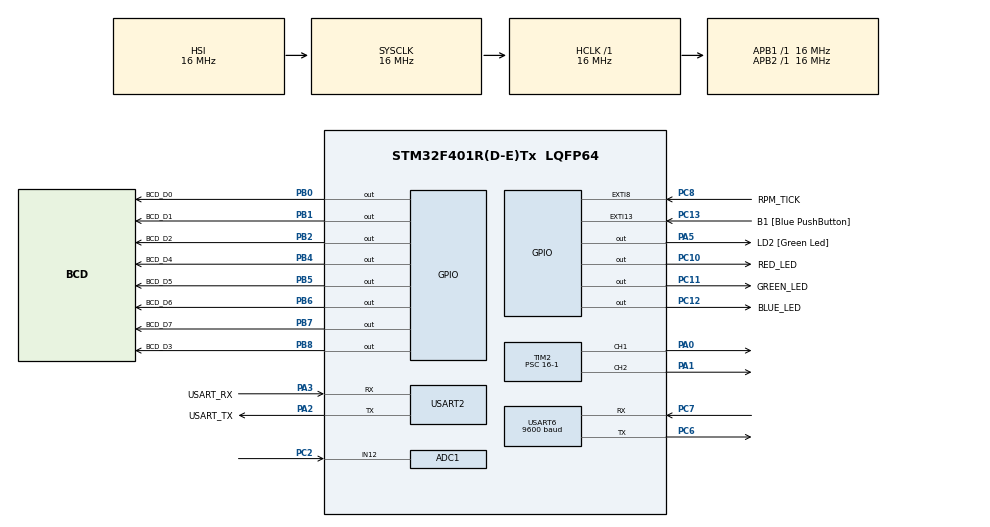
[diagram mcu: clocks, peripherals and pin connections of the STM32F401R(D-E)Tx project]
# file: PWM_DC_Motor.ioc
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ADC1.Channel-0\#ChannelRegularConversion=ADC_CHANNEL_12
ADC1.NbrOfConversionFlag=1
ADC1.Rank-0\#ChannelRegularConversion=1
ADC1.Resolution=ADC_RESOLUTION_8B
ADC1.SamplingTime-0\#ChannelRegularConversion=ADC_SAMPLETIME_15CYCLES
ADC1.ScanConvMode=ENABLE
ADC1.master=1
Mcu.Family=STM32F4
Mcu.Name=STM32F401R(D-E)Tx
Mcu.Package=LQFP64
NVIC.EXTI15_10_IRQn=true\:0\:0\:false\:false\:true\:true\:true\:true
NVIC.EXTI9_5_IRQn=true\:0\:0\:false\:false\:true\:true\:true\:true
NVIC.PriorityGroup=NVIC_PRIORITYGROUP_0
NVIC.TIM4_IRQn=true\:0\:0\:false\:false\:true\:true\:true\:true
NVIC.USART6_IRQn=true\:0\:0\:false\:false\:true\:true\:true\:true
PA0-WKUP.Signal=S_TIM2_CH1_ETR
PA1.Signal=S_TIM2_CH2
PA13.GPIO_Label=TMS
PA13.Mode=Serial_Wire
PA13.Signal=SYS_JTMS-SWDIO
PA14.GPIO_Label=TCK
PA14.Mode=Serial_Wire
PA14.Signal=SYS_JTCK-SWCLK
PA2.GPIO_Label=USART_TX
PA2.GPIO_Mode=GPIO_MODE_AF_PP
PA2.GPIO_PuPd=GPIO_NOPULL
PA2.GPIO_Speed=GPIO_SPEED_FREQ_LOW
PA2.Mode=Asynchronous
PA2.Signal=USART2_TX
PA3.GPIO_Label=USART_RX
PA3.GPIO_Mode=GPIO_MODE_AF_PP
PA3.GPIO_PuPd=GPIO_NOPULL
PA3.GPIO_Speed=GPIO_SPEED_FREQ_LOW
PA3.Mode=Asynchronous
PA3.Signal=USART2_RX
PA5.GPIO_Label=LD2 [Green Led]
PA5.GPIO_Mode=GPIO_MODE_OUTPUT_PP
PA5.GPIO_PuPd=GPIO_NOPULL
PA5.GPIO_Speed=GPIO_SPEED_FREQ_LOW
PA5.Signal=GPIO_Output
PB0.GPIO_Label=BCD_D0
PB0.Signal=GPIO_Output
PB1.GPIO_Label=BCD_D1
PB1.Signal=GPIO_Output
PB2.GPIO_Label=BCD_D2
PB2.Signal=GPIO_Output
PB3.GPIO_Label=SWO
PB3.Signal=SYS_JTDO-SWO
PB4.GPIO_Label=BCD_D4
PB4.Signal=GPIO_Output
PB5.GPIO_Label=BCD_D5
PB5.Signal=GPIO_Output
PB6.GPIO_Label=BCD_D6
PB6.Signal=GPIO_Output
PB7.GPIO_Label=BCD_D7
PB7.Signal=GPIO_Output
PB8.GPIO_Label=BCD_D3
PB8.Signal=GPIO_Output
PC10.GPIO_Label=RED_LED
PC10.Signal=GPIO_Output
PC11.GPIO_Label=GREEN_LED
PC11.Signal=GPIO_Output
PC12.GPIO_Label=BLUE_LED
PC12.Signal=GPIO_Output
PC13-ANTI_TAMP.GPIO_Label=B1 [Blue PushButton]
PC13-ANTI_TAMP.GPIO_ModeDefaultEXTI=GPIO_MODE_IT_FALLING
PC13-ANTI_TAMP.GPIO_PuPd=GPIO_NOPULL
PC13-ANTI_TAMP.Signal=GPXTI13
PC14-OSC32_IN.Mode=LSE-External-Oscillator
PC14-OSC32_IN.Signal=RCC_OSC32_IN
PC15-OSC32_OUT.Mode=LSE-External-Oscillator
PC15-OSC32_OUT.Signal=RCC_OSC32_OUT
PC2.Signal=ADCx_IN12
PC6.Mode=Asynchronous
PC6.Signal=USART6_TX
PC7.Mode=Asynchronous
PC7.Signal=USART6_RX
PC8.GPIO_Label=RPM_TICK
PC8.Signal=GPXTI8
PH0\ -\ OSC_IN.Mode=HSE-External-Clock-Source
PH0\ -\ OSC_IN.Signal=RCC_OSC_IN
PH1\ -\ OSC_OUT.Mode=HSE-External-Clock-Source
PH1\ -\ OSC_OUT.Signal=RCC_OSC_OUT
ProjectManager.HeapSize=0x200
ProjectManager.StackSize=0x400
ProjectManager.TargetToolchain=STM32CubeIDE
RCC.48MHZClocksFreq_Value=48000000
RCC.AHBFreq_Value=16000000
RCC.APB1Freq_Value=16000000
RCC.APB1TimFreq_Value=16000000
RCC.APB2Freq_Value=16000000
RCC.APB2TimFreq_Value=16000000
RCC.CortexFreq_Value=16000000
RCC.HCLKFreq_Value=16000000
RCC.HSE_VALUE=8000000
RCC.HSI_VALUE=16000000
RCC.PLLN=336
RCC.PLLP=RCC_PLLP_DIV4
RCC.PLLQ=7
RCC.SYSCLKFreq_VALUE=16000000
RCC.VCOOutputFreq_Value=336000000
SH.ADCx_IN12.0=ADC1_IN12,IN12
SH.S_TIM2_CH1_ETR.0=TIM2_CH1,PWM Generation1 CH1
SH.S_TIM2_CH2.0=TIM2_CH2,PWM Generation2 CH2
TIM2.AutoReloadPreload=TIM_AUTORELOAD_PRELOAD_ENABLE
TIM2.Channel-PWM\ Generation1\ CH1=TIM_CHANNEL_1
TIM2.Channel-PWM\ Generation2\ CH2=TIM_CHANNEL_2
TIM2.Period=2000-1
TIM2.Prescaler=16-1
TIM2.Pulse-PWM\ Generation1\ CH1=1200-1
TIM3.AutoReloadPreload=TIM_AUTORELOAD_PRELOAD_ENABLE
TIM3.Period=2000-1
TIM3.Prescaler=16-1
TIM4.AutoReloadPreload=TIM_AUTORELOAD_PRELOAD_ENABLE
TIM4.Period=1000-1
TIM4.Prescaler=16000-1
USART2.VirtualMode=VM_ASYNC
USART6.BaudRate=9600
USART6.VirtualMode=VM_ASYNC
VP_TIM2_VS_ClockSourceINT.Mode=Internal
VP_TIM3_VS_ClockSourceINT.Mode=Internal
VP_TIM4_VS_ClockSourceINT.Mode=Internal
board=NUCLEO-F401RE

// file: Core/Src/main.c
/* USER CODE BEGIN Header */
/**
  ******************************************************************************
  * @file           : main.c
  * @brief          : Main program body
  ******************************************************************************
  * @attention
  *
  * Copyright (c) 2024 STMicroelectronics.
  * All rights reserved.
  *
  * This software is licensed under terms that can be found in the LICENSE file
  * in the root directory of this software component.
  * If no LICENSE file comes with this software, it is provided AS-IS.
  *
  ******************************************************************************
  */
/* USER CODE END Header */
#include "main.h"

/* USER CODE BEGIN Includes */
#include <string.h>
#include <stdio.h>
/* USER CODE END Includes */

ADC_HandleTypeDef hadc1;

TIM_HandleTypeDef htim2;
TIM_HandleTypeDef htim3;
TIM_HandleTypeDef htim4;

UART_HandleTypeDef huart2;
UART_HandleTypeDef huart6;

void SystemClock_Config(void);
static void MX_GPIO_Init(void);
static void MX_USART2_UART_Init(void);
static void MX_TIM3_Init(void);
static void MX_TIM2_Init(void);
static void MX_USART6_UART_Init(void);
static void MX_ADC1_Init(void);
static void MX_TIM4_Init(void);
/* USER CODE BEGIN PFP */
//Global Variables
uint8_t txd_msg_buffer[64] = {0};
uint8_t wall_clock_hr_update_flag = 0;
volatile uint8_t clock_hours = 0;
volatile uint8_t clock_mins = 0;
volatile uint8_t clock_secs = 0;
uint8_t rpm_tick_count = 0;

//Functions
static void ADC_Select_CH(int CH);
void ADC_Select_CH(int CH)
{
ADC_ChannelConfTypeDef sConfig = {0};
switch(CH)
{
case 0:
sConfig.Channel = ADC_CHANNEL_0;
sConfig.Rank = 1;
if (HAL_ADC_ConfigChannel(&hadc1, &sConfig) != HAL_OK)
{
Error_Handler();
}
break;
case 1:
sConfig.Channel = ADC_CHANNEL_1;
sConfig.Rank = 1;
if (HAL_ADC_ConfigChannel(&hadc1, &sConfig) != HAL_OK)
{
Error_Handler();
}
break;
case 2:
sConfig.Channel = ADC_CHANNEL_2;
sConfig.Rank = 1;
if (HAL_ADC_ConfigChannel(&hadc1, &sConfig) != HAL_OK)
{
Error_Handler();
}
break;
case 3:
sConfig.Channel = ADC_CHANNEL_3;
sConfig.Rank = 1;
if (HAL_ADC_ConfigChannel(&hadc1, &sConfig) != HAL_OK)
{
Error_Handler();
}
break;
case 4:
sConfig.Channel = ADC_CHANNEL_4;
sConfig.Rank = 1;
if (HAL_ADC_ConfigChannel(&hadc1, &sConfig) != HAL_OK)
{
Error_Handler();
}
break;
case 5:
sConfig.Channel = ADC_CHANNEL_5;
sConfig.Rank = 1;
if (HAL_ADC_ConfigChannel(&hadc1, &sConfig) != HAL_OK)
{
Error_Handler();
}
break;
case 6:
sConfig.Channel = ADC_CHANNEL_6;
sConfig.Rank = 1;
if (HAL_ADC_ConfigChannel(&hadc1, &sConfig) != HAL_OK)
{
Error_Handler();
}
break;
case 7:
sConfig.Channel = ADC_CHANNEL_7;
sConfig.Rank = 1;
if (HAL_ADC_ConfigChannel(&hadc1, &sConfig) != HAL_OK)
{
Error_Handler();
}
break;
case 8:
sConfig.Channel = ADC_CHANNEL_8;
sConfig.Rank = 1;
if (HAL_ADC_ConfigChannel(&hadc1, &sConfig) != HAL_OK)
{
Error_Handler();
}
break;
case 9:
sConfig.Channel = ADC_CHANNEL_9;
sConfig.Rank = 1;
if (HAL_ADC_ConfigChannel(&hadc1, &sConfig) != HAL_OK)
{
Error_Handler();
}
break;
case 10:
sConfig.Channel = ADC_CHANNEL_10;
sConfig.Rank = 1;
if (HAL_ADC_ConfigChannel(&hadc1, &sConfig) != HAL_OK)
{
Error_Handler();
}
break;
case 11:
sConfig.Channel = ADC_CHANNEL_11;
sConfig.Rank = 1;
if (HAL_ADC_ConfigChannel(&hadc1, &sConfig) != HAL_OK)
{
Error_Handler();
}
break;
case 12:
sConfig.Channel = ADC_CHANNEL_12;
sConfig.Rank = 1;
if (HAL_ADC_ConfigChannel(&hadc1, &sConfig) != HAL_OK)
{
Error_Handler();
}
break;
case 13:
sConfig.Channel = ADC_CHANNEL_13;
sConfig.Rank = 1;
if (HAL_ADC_ConfigChannel(&hadc1, &sConfig) != HAL_OK)
{
Error_Handler();
}
break;
case 14:
sConfig.Channel = ADC_CHANNEL_14;
sConfig.Rank = 1;
if (HAL_ADC_ConfigChannel(&hadc1, &sConfig) != HAL_OK)
{
Error_Handler();
}
break;
case 15:
sConfig.Channel = ADC_CHANNEL_15;
sConfig.Rank = 1;
if (HAL_ADC_ConfigChannel(&hadc1, &sConfig) != HAL_OK)
{
Error_Handler();
}
break;
}
}

void DIGITS_Display(uint8_t NUM)
		{
			 uint8_t DIGIT_A = NUM/10;
			 uint8_t DIGIT_B = NUM%10;
			 uint8_t DIGITA_VAL = 0x0F & DIGIT_A; //mask off higher4 bits
			 int Abit0 = (DIGITA_VAL ) & 1;  	// extract Abit0 of the 4-bit value
			 int Abit1 = (DIGITA_VAL >> 1) & 1;  // extract Abit1 of the 4-bit value
			 int Abit2 = (DIGITA_VAL >> 2) & 1;  // extract Abit2 of the 4-bit value
			 int Abit3 = (DIGITA_VAL >> 3) & 1;  // extract Abit3 of the 4-bit value

			 uint8_t DIGITB_VAL = 0x0F & DIGIT_B; //mask off higher4 bits
			 int Bbit0 = (DIGITB_VAL ) & 1;  	// extract Bbit0 of the 4-bit value
			 int Bbit1 = (DIGITB_VAL >> 1) & 1;  // extract Bbit1 of the 4-bit value
			 int Bbit2 = (DIGITB_VAL >> 2) & 1;  // extract Bbit2 of the 4-bit value
			 int Bbit3 = (DIGITB_VAL >> 3) & 1;  // extract Bbit3 of the 4-bit value

			 if (Abit0 == (0))
			 {
				 HAL_GPIO_WritePin(GPIOB, BCD_D0_Pin, GPIO_PIN_RESET);
			 }
			 else
			 {
				 HAL_GPIO_WritePin(GPIOB, BCD_D0_Pin, GPIO_PIN_SET);

			 }
			 if (Abit1 == (0))
			 {
				 HAL_GPIO_WritePin(GPIOB, BCD_D1_Pin, GPIO_PIN_RESET);
			 }
			 else
			 {
				 HAL_GPIO_WritePin(GPIOB, BCD_D1_Pin, GPIO_PIN_SET);

			 }
			 if (Abit2 == (0))
			 {
				 HAL_GPIO_WritePin(GPIOB, BCD_D2_Pin, GPIO_PIN_RESET);
			 }
			 else
			 {
				 HAL_GPIO_WritePin(GPIOB, BCD_D2_Pin, GPIO_PIN_SET);

			 }
			 if (Abit3 == (0))
			 {
				 HAL_GPIO_WritePin(GPIOB, BCD_D3_Pin, GPIO_PIN_RESET);
			 }
			 else
			 {
				 HAL_GPIO_WritePin(GPIOB, BCD_D3_Pin, GPIO_PIN_SET);

			 }

			 if (Bbit0 == (0))
			 {
				 HAL_GPIO_WritePin(GPIOB, BCD_D4_Pin, GPIO_PIN_RESET);
			 }
			 else
			 {
				 HAL_GPIO_WritePin(GPIOB, BCD_D4_Pin, GPIO_PIN_SET);

			 }
			 if (Bbit1 == (0))
			 {
				 HAL_GPIO_WritePin(GPIOB, BCD_D5_Pin, GPIO_PIN_RESET);
			 }
			 else
			 {
				 HAL_GPIO_WritePin(GPIOB, BCD_D5_Pin, GPIO_PIN_SET);

			 }
			 if (Bbit2 == (0))
			 {
				 HAL_GPIO_WritePin(GPIOB, BCD_D6_Pin, GPIO_PIN_RESET);
			 }
			 else
			 {
				 HAL_GPIO_WritePin(GPIOB, BCD_D6_Pin, GPIO_PIN_SET);

			 }
			 if (Bbit3 == (0))
			 {
				 HAL_GPIO_WritePin(GPIOB, BCD_D7_Pin, GPIO_PIN_RESET);
			 }
			 else
			 {
				 HAL_GPIO_WritePin(GPIOB, BCD_D7_Pin, GPIO_PIN_SET);

			 }
		}
/* USER CODE END PFP */

int main(void)
{

  /* USER CODE BEGIN 1 */

	//Variables
	uint8_t txd_msg_buffer[64] = {0};
	  clock_hours = 0;
	  clock_mins = 0;
	  clock_secs = 0;

  /* USER CODE END 1 */

  /* MCU Configuration--------------------------------------------------------*/

  /* Reset of all peripherals, Initializes the Flash interface and the Systick. */
  HAL_Init();

  /* Configure the system clock */
  SystemClock_Config();

  /* Initialize all configured peripherals */
  MX_GPIO_Init();
  MX_USART2_UART_Init();
  MX_TIM3_Init();
  MX_TIM2_Init();
  MX_USART6_UART_Init();
  MX_ADC1_Init();
  MX_TIM4_Init();
  /* USER CODE BEGIN 2 */
//HAL_TIM_Base_Init(&htim2);

HAL_TIM_PWM_Start(&htim2,TIM_CHANNEL_1);
HAL_TIM_PWM_Start(&htim2,TIM_CHANNEL_2);

TIM2->PSC = 0;
TIM2->ARR = 60000;
TIM2->CCR1 =50000;
TIM2->CCR2 =0;

HAL_TIM_Base_Start_IT(&htim4);

  /* USER CODE END 2 */

  /* Infinite loop */
  /* USER CODE BEGIN WHILE */
  while (1)
  {
	  //RPM/Motor Control
//	  sprintf((char*)txd_msg_buffer,"RPM TICK COUNT: %d \r\n", rpm_tick_count);
//	  HAL_UART_Transmit(&huart6, txd_msg_buffer, strlen((char*)txd_msg_buffer),1000);

	  //ADC
//	  ADC_Select_CH(12);
//	  HAL_ADC_Start(&hadc1);
//	  HAL_ADC_PollForConversion(&hadc1,1000);
//	  uint8_t ADC_CH12 = HAL_ADC_GetValue(&hadc1);
//	  HAL_ADC_Stop(&hadc1);
//
//	  sprintf((char*)txd_msg_buffer,"DIGITIZED ANALOG VALUE FOR CH12: %d \r \n", ADC_CH12);
//	  HAL_UART_Transmit(&huart6,txd_msg_buffer,strlen((char*)txd_msg_buffer),1000);
//	  HAL_Delay(1000);

	  //RGB
	  HAL_GPIO_WritePin(GPIOC, RED_LED_Pin,GPIO_PIN_SET);
	  HAL_GPIO_WritePin(GPIOC, GREEN_LED_Pin,GPIO_PIN_RESET);
	  HAL_GPIO_WritePin(GPIOC, BLUE_LED_Pin,GPIO_PIN_RESET);

	  //BCD Display
	  DIGITS_Display(23);

	  //Wall Clock
	  sprintf((char*)txd_msg_buffer,"Minutes: %d \r\n", clock_mins);
	  HAL_UART_Transmit(&huart6, txd_msg_buffer, strlen((char*)txd_msg_buffer),1000);
	  sprintf((char*)txd_msg_buffer,"Secs: %d \r\n", clock_secs);
	  HAL_UART_Transmit(&huart6, txd_msg_buffer, strlen((char*)txd_msg_buffer),1000);
	  HAL_Delay(1000);

    /* USER CODE END WHILE */

  }
}

void SystemClock_Config(void)
{
  RCC_OscInitTypeDef RCC_OscInitStruct = {0};
  RCC_ClkInitTypeDef RCC_ClkInitStruct = {0};

  /** Configure the main internal regulator output voltage
  */
  __HAL_RCC_PWR_CLK_ENABLE();
  __HAL_PWR_VOLTAGESCALING_CONFIG(PWR_REGULATOR_VOLTAGE_SCALE2);

  /** Initializes the RCC Oscillators according to the specified parameters
  * in the RCC_OscInitTypeDef structure.
  */
  RCC_OscInitStruct.OscillatorType = RCC_OSCILLATORTYPE_HSI;
  RCC_OscInitStruct.HSIState = RCC_HSI_ON;
  RCC_OscInitStruct.HSICalibrationValue = RCC_HSICALIBRATION_DEFAULT;
  RCC_OscInitStruct.PLL.PLLState = RCC_PLL_NONE;
  if (HAL_RCC_OscConfig(&RCC_OscInitStruct) != HAL_OK)
  {
    Error_Handler();
  }

  /** Initializes the CPU, AHB and APB buses clocks
  */
  RCC_ClkInitStruct.ClockType = RCC_CLOCKTYPE_HCLK|RCC_CLOCKTYPE_SYSCLK
                              |RCC_CLOCKTYPE_PCLK1|RCC_CLOCKTYPE_PCLK2;
  RCC_ClkInitStruct.SYSCLKSource = RCC_SYSCLKSOURCE_HSI;
  RCC_ClkInitStruct.AHBCLKDivider = RCC_SYSCLK_DIV1;
  RCC_ClkInitStruct.APB1CLKDivider = RCC_HCLK_DIV1;
  RCC_ClkInitStruct.APB2CLKDivider = RCC_HCLK_DIV1;

  if (HAL_RCC_ClockConfig(&RCC_ClkInitStruct, FLASH_LATENCY_0) != HAL_OK)
  {
    Error_Handler();
  }
}

static void MX_ADC1_Init(void)
{

  ADC_ChannelConfTypeDef sConfig = {0};

  /** Configure the global features of the ADC (Clock, Resolution, Data Alignment and number of conversion)
  */
  hadc1.Instance = ADC1;
  hadc1.Init.ClockPrescaler = ADC_CLOCK_SYNC_PCLK_DIV2;
  hadc1.Init.Resolution = ADC_RESOLUTION_8B;
  hadc1.Init.ScanConvMode = ENABLE;
  hadc1.Init.ContinuousConvMode = DISABLE;
  hadc1.Init.DiscontinuousConvMode = DISABLE;
  hadc1.Init.ExternalTrigConvEdge = ADC_EXTERNALTRIGCONVEDGE_NONE;
  hadc1.Init.ExternalTrigConv = ADC_SOFTWARE_START;
  hadc1.Init.DataAlign = ADC_DATAALIGN_RIGHT;
  hadc1.Init.NbrOfConversion = 1;
  hadc1.Init.DMAContinuousRequests = DISABLE;
  hadc1.Init.EOCSelection = ADC_EOC_SINGLE_CONV;
  if (HAL_ADC_Init(&hadc1) != HAL_OK)
  {
    Error_Handler();
  }

  /** Configure for the selected ADC regular channel its corresponding rank in the sequencer and its sample time.
  */
  sConfig.Channel = ADC_CHANNEL_12;
  sConfig.Rank = 1;
  sConfig.SamplingTime = ADC_SAMPLETIME_15CYCLES;
  if (HAL_ADC_ConfigChannel(&hadc1, &sConfig) != HAL_OK)
  {
    Error_Handler();
  }

}

static void MX_TIM2_Init(void)
{

  TIM_ClockConfigTypeDef sClockSourceConfig = {0};
  TIM_MasterConfigTypeDef sMasterConfig = {0};
  TIM_OC_InitTypeDef sConfigOC = {0};

  htim2.Instance = TIM2;
  htim2.Init.Prescaler = 16-1;
  htim2.Init.CounterMode = TIM_COUNTERMODE_UP;
  htim2.Init.Period = 2000-1;
  htim2.Init.ClockDivision = TIM_CLOCKDIVISION_DIV1;
  htim2.Init.AutoReloadPreload = TIM_AUTORELOAD_PRELOAD_ENABLE;
  if (HAL_TIM_Base_Init(&htim2) != HAL_OK)
  {
    Error_Handler();
  }
  sClockSourceConfig.ClockSource = TIM_CLOCKSOURCE_INTERNAL;
  if (HAL_TIM_ConfigClockSource(&htim2, &sClockSourceConfig) != HAL_OK)
  {
    Error_Handler();
  }
  if (HAL_TIM_PWM_Init(&htim2) != HAL_OK)
  {
    Error_Handler();
  }
  sMasterConfig.MasterOutputTrigger = TIM_TRGO_RESET;
  sMasterConfig.MasterSlaveMode = TIM_MASTERSLAVEMODE_DISABLE;
  if (HAL_TIMEx_MasterConfigSynchronization(&htim2, &sMasterConfig) != HAL_OK)
  {
    Error_Handler();
  }
  sConfigOC.OCMode = TIM_OCMODE_PWM1;
  sConfigOC.Pulse = 1200-1;
  sConfigOC.OCPolarity = TIM_OCPOLARITY_HIGH;
  sConfigOC.OCFastMode = TIM_OCFAST_DISABLE;
  if (HAL_TIM_PWM_ConfigChannel(&htim2, &sConfigOC, TIM_CHANNEL_1) != HAL_OK)
  {
    Error_Handler();
  }
  sConfigOC.Pulse = 0;
  if (HAL_TIM_PWM_ConfigChannel(&htim2, &sConfigOC, TIM_CHANNEL_2) != HAL_OK)
  {
    Error_Handler();
  }
  HAL_TIM_MspPostInit(&htim2);

}

static void MX_TIM3_Init(void)
{

  TIM_ClockConfigTypeDef sClockSourceConfig = {0};
  TIM_MasterConfigTypeDef sMasterConfig = {0};

  htim3.Instance = TIM3;
  htim3.Init.Prescaler = 16-1;
  htim3.Init.CounterMode = TIM_COUNTERMODE_UP;
  htim3.Init.Period = 2000-1;
  htim3.Init.ClockDivision = TIM_CLOCKDIVISION_DIV1;
  htim3.Init.AutoReloadPreload = TIM_AUTORELOAD_PRELOAD_ENABLE;
  if (HAL_TIM_Base_Init(&htim3) != HAL_OK)
  {
    Error_Handler();
  }
  sClockSourceConfig.ClockSource = TIM_CLOCKSOURCE_INTERNAL;
  if (HAL_TIM_ConfigClockSource(&htim3, &sClockSourceConfig) != HAL_OK)
  {
    Error_Handler();
  }
  sMasterConfig.MasterOutputTrigger = TIM_TRGO_RESET;
  sMasterConfig.MasterSlaveMode = TIM_MASTERSLAVEMODE_DISABLE;
  if (HAL_TIMEx_MasterConfigSynchronization(&htim3, &sMasterConfig) != HAL_OK)
  {
    Error_Handler();
  }

}

static void MX_TIM4_Init(void)
{

  TIM_ClockConfigTypeDef sClockSourceConfig = {0};
  TIM_MasterConfigTypeDef sMasterConfig = {0};

  htim4.Instance = TIM4;
  htim4.Init.Prescaler = 16000-1;
  htim4.Init.CounterMode = TIM_COUNTERMODE_UP;
  htim4.Init.Period = 1000-1;
  htim4.Init.ClockDivision = TIM_CLOCKDIVISION_DIV1;
  htim4.Init.AutoReloadPreload = TIM_AUTORELOAD_PRELOAD_ENABLE;
  if (HAL_TIM_Base_Init(&htim4) != HAL_OK)
  {
    Error_Handler();
  }
  sClockSourceConfig.ClockSource = TIM_CLOCKSOURCE_INTERNAL;
  if (HAL_TIM_ConfigClockSource(&htim4, &sClockSourceConfig) != HAL_OK)
  {
    Error_Handler();
  }
  sMasterConfig.MasterOutputTrigger = TIM_TRGO_RESET;
  sMasterConfig.MasterSlaveMode = TIM_MASTERSLAVEMODE_DISABLE;
  if (HAL_TIMEx_MasterConfigSynchronization(&htim4, &sMasterConfig) != HAL_OK)
  {
    Error_Handler();
  }

}

static void MX_USART2_UART_Init(void)
{

  huart2.Instance = USART2;
  huart2.Init.BaudRate = 115200;
  huart2.Init.WordLength = UART_WORDLENGTH_8B;
  huart2.Init.StopBits = UART_STOPBITS_1;
  huart2.Init.Parity = UART_PARITY_NONE;
  huart2.Init.Mode = UART_MODE_TX_RX;
  huart2.Init.HwFlowCtl = UART_HWCONTROL_NONE;
  huart2.Init.OverSampling = UART_OVERSAMPLING_16;
  if (HAL_UART_Init(&huart2) != HAL_OK)
  {
    Error_Handler();
  }

}

static void MX_USART6_UART_Init(void)
{

  huart6.Instance = USART6;
  huart6.Init.BaudRate = 9600;
  huart6.Init.WordLength = UART_WORDLENGTH_8B;
  huart6.Init.StopBits = UART_STOPBITS_1;
  huart6.Init.Parity = UART_PARITY_NONE;
  huart6.Init.Mode = UART_MODE_TX_RX;
  huart6.Init.HwFlowCtl = UART_HWCONTROL_NONE;
  huart6.Init.OverSampling = UART_OVERSAMPLING_16;
  if (HAL_UART_Init(&huart6) != HAL_OK)
  {
    Error_Handler();
  }

}

static void MX_GPIO_Init(void)
{
  GPIO_InitTypeDef GPIO_InitStruct = {0};

  /* GPIO Ports Clock Enable */
  __HAL_RCC_GPIOC_CLK_ENABLE();
  __HAL_RCC_GPIOH_CLK_ENABLE();
  __HAL_RCC_GPIOA_CLK_ENABLE();
  __HAL_RCC_GPIOB_CLK_ENABLE();

  /*Configure GPIO pin Output Level */
  HAL_GPIO_WritePin(LD2_GPIO_Port, LD2_Pin, GPIO_PIN_RESET);

  /*Configure GPIO pin Output Level */
  HAL_GPIO_WritePin(GPIOB, BCD_D0_Pin|BCD_D1_Pin|BCD_D2_Pin|BCD_D4_Pin
                          |BCD_D5_Pin|BCD_D6_Pin|BCD_D7_Pin|BCD_D3_Pin, GPIO_PIN_RESET);

  /*Configure GPIO pin Output Level */
  HAL_GPIO_WritePin(GPIOC, RED_LED_Pin|GREEN_LED_Pin|BLUE_LED_Pin, GPIO_PIN_RESET);

  /*Configure GPIO pin : B1_Pin */
  GPIO_InitStruct.Pin = B1_Pin;
  GPIO_InitStruct.Mode = GPIO_MODE_IT_FALLING;
  GPIO_InitStruct.Pull = GPIO_NOPULL;
  HAL_GPIO_Init(B1_GPIO_Port, &GPIO_InitStruct);

  /*Configure GPIO pin : LD2_Pin */
  GPIO_InitStruct.Pin = LD2_Pin;
  GPIO_InitStruct.Mode = GPIO_MODE_OUTPUT_PP;
  GPIO_InitStruct.Pull = GPIO_NOPULL;
  GPIO_InitStruct.Speed = GPIO_SPEED_FREQ_LOW;
  HAL_GPIO_Init(LD2_GPIO_Port, &GPIO_InitStruct);

  /*Configure GPIO pins : BCD_D0_Pin BCD_D1_Pin BCD_D2_Pin BCD_D4_Pin
                           BCD_D5_Pin BCD_D6_Pin BCD_D7_Pin BCD_D3_Pin */
  GPIO_InitStruct.Pin = BCD_D0_Pin|BCD_D1_Pin|BCD_D2_Pin|BCD_D4_Pin
                          |BCD_D5_Pin|BCD_D6_Pin|BCD_D7_Pin|BCD_D3_Pin;
  GPIO_InitStruct.Mode = GPIO_MODE_OUTPUT_PP;
  GPIO_InitStruct.Pull = GPIO_NOPULL;
  GPIO_InitStruct.Speed = GPIO_SPEED_FREQ_LOW;
  HAL_GPIO_Init(GPIOB, &GPIO_InitStruct);

  /*Configure GPIO pin : RPM_TICK_Pin */
  GPIO_InitStruct.Pin = RPM_TICK_Pin;
  GPIO_InitStruct.Mode = GPIO_MODE_IT_RISING;
  GPIO_InitStruct.Pull = GPIO_NOPULL;
  HAL_GPIO_Init(RPM_TICK_GPIO_Port, &GPIO_InitStruct);

  /*Configure GPIO pins : RED_LED_Pin GREEN_LED_Pin BLUE_LED_Pin */
  GPIO_InitStruct.Pin = RED_LED_Pin|GREEN_LED_Pin|BLUE_LED_Pin;
  GPIO_InitStruct.Mode = GPIO_MODE_OUTPUT_PP;
  GPIO_InitStruct.Pull = GPIO_NOPULL;
  GPIO_InitStruct.Speed = GPIO_SPEED_FREQ_LOW;
  HAL_GPIO_Init(GPIOC, &GPIO_InitStruct);

  /* EXTI interrupt init*/
  HAL_NVIC_SetPriority(EXTI9_5_IRQn, 0, 0);
  HAL_NVIC_EnableIRQ(EXTI9_5_IRQn);

  HAL_NVIC_SetPriority(EXTI15_10_IRQn, 0, 0);
  HAL_NVIC_EnableIRQ(EXTI15_10_IRQn);

}

/* USER CODE BEGIN 4 */
void HAL_GPIO_EXTI_Callback(uint16_t GPIO_Pin)
{
	if(GPIO_Pin == RPM_TICK_Pin)
	{
		rpm_tick_count += 1;
	}
}
void HAL_TIM_PeriodElapsedCallback(TIM_HandleTypeDef *htim)
{
	if((htim->Instance == TIM4))
	{
		wall_clock_hr_update_flag = 0;
		clock_secs += 1;
	}
	if((clock_secs == 60))
	{
		clock_mins += 1;
		clock_secs = 0;
	}
	if((clock_mins == 60 ))
	{
		clock_hours += 1;
		clock_mins = 0;
	}
	wall_clock_hr_update_flag = 1;

}
/* USER CODE END 4 */

void Error_Handler(void)
{
  __disable_irq();
  while (1)
  {
  }
}
